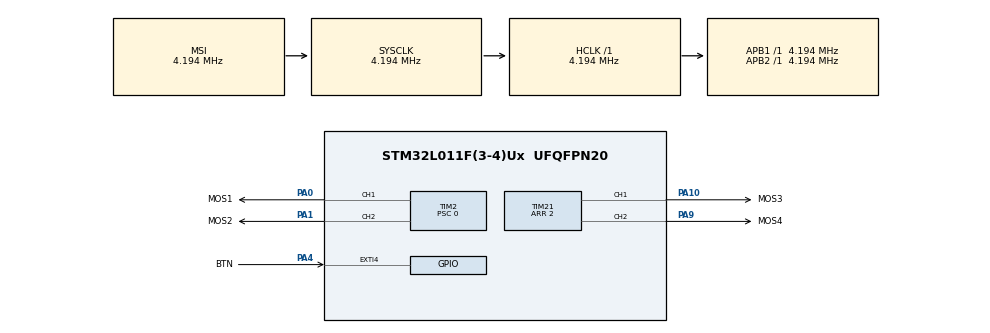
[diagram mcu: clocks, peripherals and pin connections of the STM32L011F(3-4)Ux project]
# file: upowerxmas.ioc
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Mcu.Family=STM32L0
Mcu.Name=STM32L011F(3-4)Ux
Mcu.Package=UFQFPN20
NVIC.EXTI4_15_IRQn=true\:0\:0\:false\:false\:true\:true\:true
NVIC.RTC_IRQn=true\:0\:0\:false\:false\:true\:true\:true
PA0-CK_IN.GPIO_Label=MOS1
PA0-CK_IN.GPIO_Speed=GPIO_SPEED_FREQ_VERY_HIGH
PA0-CK_IN.Signal=S_TIM2_CH1
PA1.GPIO_Label=MOS2
PA1.GPIO_Speed=GPIO_SPEED_FREQ_VERY_HIGH
PA1.Signal=S_TIM2_CH2
PA10.GPIO_Label=MOS3
PA10.GPIO_Speed=GPIO_SPEED_FREQ_VERY_HIGH
PA10.Signal=S_TIM21_CH1
PA4.GPIO_Label=BTN
PA4.GPIO_ModeDefaultEXTI=GPIO_MODE_IT_RISING
PA4.Signal=GPXTI4
PA9.GPIO_Label=MOS4
PA9.GPIO_Speed=GPIO_SPEED_FREQ_VERY_HIGH
PA9.Signal=S_TIM21_CH2
ProjectManager.HeapSize=0x200
ProjectManager.StackSize=0x400
ProjectManager.TargetToolchain=STM32CubeIDE
RCC.AHBFreq_Value=4194000
RCC.APB1Freq_Value=4194000
RCC.APB1TimFreq_Value=4194000
RCC.APB2Freq_Value=4194000
RCC.APB2TimFreq_Value=4194000
RCC.HCLKFreq_Value=4194000
RCC.HSE_VALUE=8000000
RCC.HSI16_VALUE=16000000
RCC.HSI_VALUE=16000000
RCC.LSE_VALUE=32768
RCC.MSIClockRange=RCC_MSIRANGE_6
RCC.MSI_VALUE=4194000
RCC.PREFETCH_ENABLE=0
RCC.PWR_Regulator_Voltage_Scale=PWR_REGULATOR_VOLTAGE_SCALE2
RCC.SYSCLKFreq_VALUE=4194000
RCC.VCOOutputFreq_Value=48000000
RCC.VDD_VALUE=2.5
RTC.WakeUpClock=RTC_WAKEUPCLOCK_RTCCLK_DIV2
RTC.WakeUpCounter=328
SH.S_TIM21_CH1.0=TIM21_CH1,PWM Generation1 CH1
SH.S_TIM21_CH2.0=TIM21_CH2,PWM Generation2 CH2
SH.S_TIM2_CH1.0=TIM2_CH1,PWM Generation1 CH1
SH.S_TIM2_CH2.0=TIM2_CH2,PWM Generation2 CH2
TIM2.AutoReloadPreload=TIM_AUTORELOAD_PRELOAD_DISABLE
TIM2.Channel-PWM\ Generation1\ CH1=TIM_CHANNEL_1
TIM2.Channel-PWM\ Generation2\ CH2=TIM_CHANNEL_2
TIM2.OC1Preload_PWM=ENABLE
TIM2.OCFastMode_PWM-PWM\ Generation1\ CH1=TIM_OCFAST_ENABLE
TIM2.OCFastMode_PWM-PWM\ Generation2\ CH2=TIM_OCFAST_ENABLE
TIM2.OCMode_PWM-PWM\ Generation1\ CH1=TIM_OCMODE_PWM2
TIM2.OCMode_PWM-PWM\ Generation2\ CH2=TIM_OCMODE_PWM2
TIM2.Period=2
TIM2.Prescaler=0
TIM2.Pulse-PWM\ Generation1\ CH1=1
TIM2.Pulse-PWM\ Generation2\ CH2=1
TIM21.Channel-PWM\ Generation1\ CH1=TIM_CHANNEL_1
TIM21.Channel-PWM\ Generation2\ CH2=TIM_CHANNEL_2
TIM21.OC1Preload_PWM=ENABLE
TIM21.OCFastMode_PWM-PWM\ Generation1\ CH1=TIM_OCFAST_ENABLE
TIM21.OCFastMode_PWM-PWM\ Generation2\ CH2=TIM_OCFAST_ENABLE
TIM21.OCMode_PWM-PWM\ Generation1\ CH1=TIM_OCMODE_PWM2
TIM21.OCMode_PWM-PWM\ Generation2\ CH2=TIM_OCMODE_PWM2
TIM21.Period=2
TIM21.Pulse-PWM\ Generation1\ CH1=1
TIM21.Pulse-PWM\ Generation2\ CH2=1
VP_RTC_VS_RTC_Activate.Mode=RTC_Enabled
VP_RTC_VS_RTC_WakeUp_intern.Mode=WakeUp
VP_TIM21_VS_OPM.Mode=OPM_bit
VP_TIM2_VS_OPM.Mode=OPM_bit
board=custom

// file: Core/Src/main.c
/* USER CODE BEGIN Header */
/**
  ******************************************************************************
  * @file           : main.c
  * @brief          : Main program body
  ******************************************************************************
  * @attention
  *
  * <h2><center>&copy; Copyright (c) 2019 STMicroelectronics.
  * All rights reserved.</center></h2>
  *
  * This software component is licensed by ST under BSD 3-Clause license,
  * the "License"; You may not use this file except in compliance with the
  * License. You may obtain a copy of the License at:
  *                        opensource.org/licenses/BSD-3-Clause
  *
  ******************************************************************************
  */
/* USER CODE END Header */

#include "main.h"

/* USER CODE BEGIN Includes */
#include <stdbool.h>
/* USER CODE END Includes */

RTC_HandleTypeDef hrtc;

TIM_HandleTypeDef htim2;
TIM_HandleTypeDef htim21;

/* USER CODE BEGIN PV */
int mode = -1;
bool switchMode = true;
long lastMostSwitch = 0;

// min. delay between 2 mode switches (in ms)
#define MODESWITCHDELAY 5
/* USER CODE END PV */

void SystemClock_Config(void);
static void MX_GPIO_Init(void);
static void MX_RTC_Init(void);
static void MX_TIM2_Init(void);
static void MX_TIM21_Init(void);
/* USER CODE BEGIN PFP */
void MX_GPIO_Deinit(void);
static void StopMode(void);
static void ModeBlink_Init(uint16_t brght, uint32_t wkup);
static void ModeBlink_Loop();
static void ModeFlake_Init(uint16_t brght, uint32_t wkup);
static void ModeFlake_Loop();
static void ModeStatic_Init(int arr, int wkup);
static void ModeStatic_Loop();
/* USER CODE END PFP */

/* USER CODE BEGIN 0 */

// simple 16bit PRNG
static uint16_t prng_lfsr16(void)
{
  static uint16_t cnt16 = 91;
  return (cnt16 = (cnt16 >> 1) ^ (-(cnt16 & 1) & 0xB400));
}

/* USER CODE END 0 */

int main(void)
{

  /* MCU Configuration--------------------------------------------------------*/

  /* Reset of all peripherals, Initializes the Flash interface and the Systick. */
  HAL_Init();

  /* USER CODE BEGIN Init */

  /* Before we can access to every register of the PWR peripheral we must enable it */
  __HAL_RCC_PWR_CLK_ENABLE();

  /* USER CODE END Init */

  /* Configure the system clock */
  SystemClock_Config();

  /* Initialize all configured peripherals */
  MX_GPIO_Init();
  MX_RTC_Init();
  MX_TIM2_Init();
  MX_TIM21_Init();
  /* USER CODE BEGIN 2 */

  // hack to enter programming mode easily as backup...
  // hold the button to enter the wait loop for 20s
  if(HAL_GPIO_ReadPin(BTN_GPIO_Port, BTN_Pin) == false)
  {
	  int i, j;

	  // blink the topmost LED 500ms on 500ms off
	  for(i = 40000; i > 0; i -= 1000)
	  {
		  for( j = 5000; j > 0; j--)
		  {
			  HAL_TIM_PWM_Start(&htim21, TIM_CHANNEL_1);
		  }

		  HAL_Delay(500);
	  }
  }

  // add half a second of wait time to allow for easier flashing of the device (before it
  // goes to STOP mode too quickly <:O
  HAL_Delay(500);

  // for some reason we have to start with tim21 to not bog down the power supply at
  // startup... so to be sure we do one short pulse here before going to main loop
  HAL_TIM_PWM_Start(&htim21, TIM_CHANNEL_1);
  HAL_Delay(20);

  /* USER CODE END 2 */

  /* Infinite loop */
  /* USER CODE BEGIN WHILE */
  while (1)
  {
	  // do some mode switching
	  if(switchMode)
	  {
		  switchMode = false;
		  mode++;

		  // loop the mode counter...
		  if(mode > 8)
			  mode = 0;

		  switch(mode)
		  {
		  case 0:
			  ModeStatic_Init(3, 328);
			  break;
		  case 1:
			  ModeStatic_Init(2, 328);
			  break;
		  case 2:
			  ModeStatic_Init(1, 328);
			  break;
		  case 3:
			  ModeBlink_Init(800, 6500);
			  break;
		  case 4:
			  ModeBlink_Init(400, 6500);
			  break;
		  case 5:
			  ModeBlink_Init(75, 6500);
			  break;
		  case 6:
			  ModeFlake_Init(800, 6500);
			  break;
		  case 7:
			  ModeFlake_Init(400, 6500);
			  break;
		  case 8:
			  ModeFlake_Init(75, 6500);
			  break;
		  default:
			  ModeStatic_Init(3, 328);
			  break;

		  }

	  }

	  // do the actual loop-work
	  switch(mode)
	  {
	  case 0:
		  ModeStatic_Loop();
		  ModeStatic_Loop();
		  break;
	  case 1:
	  case 2:
		  ModeStatic_Loop();
		  break;
	  case 3:
	  case 4:
	  case 5:
		  // call that twice to give some chance of having two lights on at the same time ;)
		  ModeBlink_Loop();
		  ModeBlink_Loop();
		  break;
	  case 6:
	  case 7:
	  case 8:
		  ModeFlake_Loop();
		  break;
	  default:
		  ModeStatic_Loop();
		  break;

	  }

	  // go to low power for a while until the RTC's AWU wakes us
	  StopMode();

    /* USER CODE END WHILE */

  }
}

void SystemClock_Config(void)
{
  RCC_OscInitTypeDef RCC_OscInitStruct = {0};
  RCC_ClkInitTypeDef RCC_ClkInitStruct = {0};
  RCC_PeriphCLKInitTypeDef PeriphClkInit = {0};

  /** Configure the main internal regulator output voltage
  */
  __HAL_PWR_VOLTAGESCALING_CONFIG(PWR_REGULATOR_VOLTAGE_SCALE2);
  /** Initializes the CPU, AHB and APB busses clocks
  */
  RCC_OscInitStruct.OscillatorType = RCC_OSCILLATORTYPE_LSI|RCC_OSCILLATORTYPE_MSI;
  RCC_OscInitStruct.LSIState = RCC_LSI_ON;
  RCC_OscInitStruct.MSIState = RCC_MSI_ON;
  RCC_OscInitStruct.MSICalibrationValue = 0;
  RCC_OscInitStruct.MSIClockRange = RCC_MSIRANGE_6;
  RCC_OscInitStruct.PLL.PLLState = RCC_PLL_NONE;
  if (HAL_RCC_OscConfig(&RCC_OscInitStruct) != HAL_OK)
  {
    Error_Handler();
  }
  /** Initializes the CPU, AHB and APB busses clocks
  */
  RCC_ClkInitStruct.ClockType = RCC_CLOCKTYPE_HCLK|RCC_CLOCKTYPE_SYSCLK
                              |RCC_CLOCKTYPE_PCLK1|RCC_CLOCKTYPE_PCLK2;
  RCC_ClkInitStruct.SYSCLKSource = RCC_SYSCLKSOURCE_MSI;
  RCC_ClkInitStruct.AHBCLKDivider = RCC_SYSCLK_DIV1;
  RCC_ClkInitStruct.APB1CLKDivider = RCC_HCLK_DIV1;
  RCC_ClkInitStruct.APB2CLKDivider = RCC_HCLK_DIV1;

  if (HAL_RCC_ClockConfig(&RCC_ClkInitStruct, FLASH_LATENCY_0) != HAL_OK)
  {
    Error_Handler();
  }
  PeriphClkInit.PeriphClockSelection = RCC_PERIPHCLK_RTC;
  PeriphClkInit.RTCClockSelection = RCC_RTCCLKSOURCE_LSI;
  if (HAL_RCCEx_PeriphCLKConfig(&PeriphClkInit) != HAL_OK)
  {
    Error_Handler();
  }
}

static void MX_RTC_Init(void)
{

  /** Initialize RTC Only
  */
  hrtc.Instance = RTC;
  hrtc.Init.HourFormat = RTC_HOURFORMAT_24;
  hrtc.Init.AsynchPrediv = 127;
  hrtc.Init.SynchPrediv = 255;
  hrtc.Init.OutPut = RTC_OUTPUT_DISABLE;
  hrtc.Init.OutPutRemap = RTC_OUTPUT_REMAP_NONE;
  hrtc.Init.OutPutPolarity = RTC_OUTPUT_POLARITY_HIGH;
  hrtc.Init.OutPutType = RTC_OUTPUT_TYPE_OPENDRAIN;
  if (HAL_RTC_Init(&hrtc) != HAL_OK)
  {
    Error_Handler();
  }
  /** Enable the WakeUp
  */
  if (HAL_RTCEx_SetWakeUpTimer_IT(&hrtc, 328, RTC_WAKEUPCLOCK_RTCCLK_DIV2) != HAL_OK)
  {
    Error_Handler();
  }

}

static void MX_TIM2_Init(void)
{

  TIM_MasterConfigTypeDef sMasterConfig = {0};
  TIM_OC_InitTypeDef sConfigOC = {0};

  htim2.Instance = TIM2;
  htim2.Init.Prescaler = 0;
  htim2.Init.CounterMode = TIM_COUNTERMODE_UP;
  htim2.Init.Period = 2;
  htim2.Init.ClockDivision = TIM_CLOCKDIVISION_DIV1;
  htim2.Init.AutoReloadPreload = TIM_AUTORELOAD_PRELOAD_DISABLE;
  if (HAL_TIM_PWM_Init(&htim2) != HAL_OK)
  {
    Error_Handler();
  }
  if (HAL_TIM_OnePulse_Init(&htim2, TIM_OPMODE_SINGLE) != HAL_OK)
  {
    Error_Handler();
  }
  sMasterConfig.MasterOutputTrigger = TIM_TRGO_RESET;
  sMasterConfig.MasterSlaveMode = TIM_MASTERSLAVEMODE_DISABLE;
  if (HAL_TIMEx_MasterConfigSynchronization(&htim2, &sMasterConfig) != HAL_OK)
  {
    Error_Handler();
  }
  sConfigOC.OCMode = TIM_OCMODE_PWM2;
  sConfigOC.Pulse = 1;
  sConfigOC.OCPolarity = TIM_OCPOLARITY_HIGH;
  sConfigOC.OCFastMode = TIM_OCFAST_ENABLE;
  if (HAL_TIM_PWM_ConfigChannel(&htim2, &sConfigOC, TIM_CHANNEL_1) != HAL_OK)
  {
    Error_Handler();
  }
  if (HAL_TIM_PWM_ConfigChannel(&htim2, &sConfigOC, TIM_CHANNEL_2) != HAL_OK)
  {
    Error_Handler();
  }
  HAL_TIM_MspPostInit(&htim2);

}

static void MX_TIM21_Init(void)
{

  TIM_MasterConfigTypeDef sMasterConfig = {0};
  TIM_OC_InitTypeDef sConfigOC = {0};

  htim21.Instance = TIM21;
  htim21.Init.Prescaler = 0;
  htim21.Init.CounterMode = TIM_COUNTERMODE_UP;
  htim21.Init.Period = 2;
  htim21.Init.ClockDivision = TIM_CLOCKDIVISION_DIV1;
  htim21.Init.AutoReloadPreload = TIM_AUTORELOAD_PRELOAD_DISABLE;
  if (HAL_TIM_PWM_Init(&htim21) != HAL_OK)
  {
    Error_Handler();
  }
  if (HAL_TIM_OnePulse_Init(&htim21, TIM_OPMODE_SINGLE) != HAL_OK)
  {
    Error_Handler();
  }
  sMasterConfig.MasterOutputTrigger = TIM_TRGO_RESET;
  sMasterConfig.MasterSlaveMode = TIM_MASTERSLAVEMODE_DISABLE;
  if (HAL_TIMEx_MasterConfigSynchronization(&htim21, &sMasterConfig) != HAL_OK)
  {
    Error_Handler();
  }
  sConfigOC.OCMode = TIM_OCMODE_PWM2;
  sConfigOC.Pulse = 1;
  sConfigOC.OCPolarity = TIM_OCPOLARITY_HIGH;
  sConfigOC.OCFastMode = TIM_OCFAST_ENABLE;
  if (HAL_TIM_PWM_ConfigChannel(&htim21, &sConfigOC, TIM_CHANNEL_1) != HAL_OK)
  {
    Error_Handler();
  }
  if (HAL_TIM_PWM_ConfigChannel(&htim21, &sConfigOC, TIM_CHANNEL_2) != HAL_OK)
  {
    Error_Handler();
  }
  HAL_TIM_MspPostInit(&htim21);

}

static void MX_GPIO_Init(void)
{
  GPIO_InitTypeDef GPIO_InitStruct = {0};

  /* GPIO Ports Clock Enable */
  __HAL_RCC_GPIOA_CLK_ENABLE();

  /*Configure GPIO pin : BTN_Pin */
  GPIO_InitStruct.Pin = BTN_Pin;
  GPIO_InitStruct.Mode = GPIO_MODE_IT_RISING;
  GPIO_InitStruct.Pull = GPIO_NOPULL;
  HAL_GPIO_Init(BTN_GPIO_Port, &GPIO_InitStruct);

  /* EXTI interrupt init*/
  HAL_NVIC_SetPriority(EXTI4_15_IRQn, 0, 0);
  HAL_NVIC_EnableIRQ(EXTI4_15_IRQn);

}

/* USER CODE BEGIN 4 */

void StopMode(void)
{
  //MX_GPIO_Deinit();

  /* Configure User push-button as external interrupt generator */
  //MX_GPIO_Init();

  /* Suspend Tick increment to prevent wakeup by Systick interrupt.
     Otherwise the Systick interrupt will wake up the device within 1ms (HAL time base) */
  HAL_SuspendTick();

  /* disable the flash in power down mode */
  __HAL_FLASH_POWER_DOWN_DISABLE();

  /* We enable again the PWR peripheral */
  __HAL_RCC_PWR_CLK_ENABLE();
  /* Request to enter SLEEP mode */
  HAL_PWR_EnterSTOPMode(PWR_LOWPOWERREGULATOR_ON, PWR_SLEEPENTRY_WFI);

  /* Resume Tick interrupt if disabled prior to sleep mode entry*/
  HAL_ResumeTick();

  /* Reinitialize GPIOs */
  //MX_GPIO_Init();

  /* Reinitialize UART2 */
  //MX_USART2_UART_Init();
}

void MX_GPIO_Deinit(void)
{
  GPIO_InitTypeDef GPIO_InitStruct;

  /* Configure all GPIO as analog to reduce current consumption on non used IOs */
  /* Enable GPIOs clock */
  /* Warning : Reconfiguring all GPIO will close the connection with the debugger */
  __HAL_RCC_GPIOA_CLK_ENABLE();
  __HAL_RCC_GPIOB_CLK_ENABLE();
  __HAL_RCC_GPIOC_CLK_ENABLE();

  GPIO_InitStruct.Mode = GPIO_MODE_ANALOG;
  GPIO_InitStruct.Speed = GPIO_SPEED_FREQ_HIGH;
  GPIO_InitStruct.Pull = GPIO_NOPULL;
  GPIO_InitStruct.Pin = GPIO_PIN_All;
  HAL_GPIO_Init(GPIOA, &GPIO_InitStruct);
  HAL_GPIO_Init(GPIOB, &GPIO_InitStruct);
  HAL_GPIO_Init(GPIOC, &GPIO_InitStruct);

  /* Disable GPIOs clock */
  __HAL_RCC_GPIOA_CLK_DISABLE();
  __HAL_RCC_GPIOB_CLK_DISABLE();
  __HAL_RCC_GPIOC_CLK_DISABLE();
}

void BTN_Pressed(void)
{
	uint32_t now = HAL_GetTick();

	// dumb debouncing
	if(lastMostSwitch + MODESWITCHDELAY < now)
	{
		lastMostSwitch = now;
		switchMode = true;
	}
}

/*
void ModeBlink_Init(int speed);
void ModeBlink_Loop();
void ModeFlake_Init(int speed);
void ModeFlake_Loop();
*/

void ModeStatic_Init(int arr, int wkup)
{
	// make sure the GPIOs are in the expected state
	HAL_TIM_MspPostInit(&htim2);
	HAL_TIM_MspPostInit(&htim21);

	// wake the MCU every ~18ms or so
	HAL_RTCEx_SetWakeUpTimer_IT(&hrtc, wkup, RTC_WAKEUPCLOCK_RTCCLK_DIV2);

	// limit the max intensity... this is SYSCLK dependent and
	// might short the supply to ground if the inductors on board
	// get saturated.
	if(arr > 6) arr = 6;

	__HAL_TIM_SET_AUTORELOAD(&htim2, arr);
	__HAL_TIM_SET_AUTORELOAD(&htim21, arr);

	  // Reset the OPM Bit to Single shot
	  htim2.Instance->CR1 &= ~TIM_CR1_OPM;
	  htim2.Instance->CR1 |= TIM_OPMODE_SINGLE;
	  // Reset the OPM Bit to Single shot
	  htim21.Instance->CR1 &= ~TIM_CR1_OPM;
	  htim21.Instance->CR1 |= TIM_OPMODE_SINGLE;
}

void ModeStatic_Loop()
{
	HAL_TIM_PWM_Start(&htim2, TIM_CHANNEL_1);
	HAL_TIM_PWM_Start(&htim2, TIM_CHANNEL_2);
	HAL_TIM_PWM_Start(&htim21, TIM_CHANNEL_2);
	HAL_TIM_PWM_Start(&htim21, TIM_CHANNEL_1);
}

uint16_t blink_brighness = 0;
uint16_t blink_step = 0;

void ModeBlink_Init(uint16_t brght, uint32_t wkup)
{
	HAL_RTCEx_SetWakeUpTimer_IT(&hrtc, wkup, RTC_WAKEUPCLOCK_RTCCLK_DIV2);
	blink_brighness = brght;
}

static void ModeBlink_Loop()
{
	GPIO_InitTypeDef GPIO_InitStruct = {0};

	TIM_HandleTypeDef *timer;
	uint8_t channel;

	blink_step = prng_lfsr16();

	if(blink_step < (0xffff / 4))
	{
		timer = &htim2;
		channel = TIM_CHANNEL_1;

		// MOS 1 driven
	    GPIO_InitStruct.Pin = MOS1_Pin;
	    GPIO_InitStruct.Mode = GPIO_MODE_AF_PP;
	    GPIO_InitStruct.Pull = GPIO_NOPULL;
	    GPIO_InitStruct.Speed = GPIO_SPEED_FREQ_VERY_HIGH;
	    GPIO_InitStruct.Alternate = GPIO_AF2_TIM2;
	    HAL_GPIO_Init(MOS1_GPIO_Port, &GPIO_InitStruct);

	    // MOS 2 input
		GPIO_InitStruct.Pin = MOS2_Pin;
		GPIO_InitStruct.Mode = GPIO_MODE_INPUT;
		HAL_GPIO_Init(MOS1_GPIO_Port, &GPIO_InitStruct);
	}
	else if(blink_step < 0xffff / 4 * 2)
	{
		timer = &htim2;
		channel = TIM_CHANNEL_2;

		// MOS 1 driven
		GPIO_InitStruct.Pin = MOS2_Pin;
		GPIO_InitStruct.Mode = GPIO_MODE_AF_PP;
		GPIO_InitStruct.Pull = GPIO_NOPULL;
		GPIO_InitStruct.Speed = GPIO_SPEED_FREQ_VERY_HIGH;
		GPIO_InitStruct.Alternate = GPIO_AF2_TIM2;
		HAL_GPIO_Init(MOS1_GPIO_Port, &GPIO_InitStruct);

		// MOS 2 input
		GPIO_InitStruct.Pin = MOS1_Pin;
		GPIO_InitStruct.Mode = GPIO_MODE_INPUT;
		HAL_GPIO_Init(MOS1_GPIO_Port, &GPIO_InitStruct);
	}
	else if(blink_step < 0xffff / 4 * 3)
	{
		timer = &htim21;
		channel = TIM_CHANNEL_1;

		// MOS 4 driven
	    GPIO_InitStruct.Pin = MOS4_Pin;
	    GPIO_InitStruct.Mode = GPIO_MODE_AF_PP;
	    GPIO_InitStruct.Pull = GPIO_NOPULL;
	    GPIO_InitStruct.Speed = GPIO_SPEED_FREQ_VERY_HIGH;
	    GPIO_InitStruct.Alternate = GPIO_AF5_TIM21;
	    HAL_GPIO_Init(MOS4_GPIO_Port, &GPIO_InitStruct);

	    // MOS 3 input
	    GPIO_InitStruct.Pin = MOS3_Pin;
	    GPIO_InitStruct.Mode = GPIO_MODE_INPUT;
	    GPIO_InitStruct.Pull = GPIO_NOPULL;
	    GPIO_InitStruct.Speed = GPIO_SPEED_FREQ_VERY_HIGH;
	    GPIO_InitStruct.Alternate = GPIO_AF0_TIM21;
	    HAL_GPIO_Init(MOS3_GPIO_Port, &GPIO_InitStruct);
	}
	else
	{
		timer = &htim21;
		channel = TIM_CHANNEL_2;

		// MOS 4 input
	    GPIO_InitStruct.Pin = MOS4_Pin;
	    GPIO_InitStruct.Mode = GPIO_MODE_INPUT;
	    GPIO_InitStruct.Pull = GPIO_NOPULL;
	    GPIO_InitStruct.Speed = GPIO_SPEED_FREQ_VERY_HIGH;
	    GPIO_InitStruct.Alternate = GPIO_AF5_TIM21;
	    HAL_GPIO_Init(MOS4_GPIO_Port, &GPIO_InitStruct);

	    // MOS 3 driven
	    GPIO_InitStruct.Pin = MOS3_Pin;
	    GPIO_InitStruct.Mode = GPIO_MODE_AF_PP;
	    GPIO_InitStruct.Pull = GPIO_NOPULL;
	    GPIO_InitStruct.Speed = GPIO_SPEED_FREQ_VERY_HIGH;
	    GPIO_InitStruct.Alternate = GPIO_AF0_TIM21;
	    HAL_GPIO_Init(MOS3_GPIO_Port, &GPIO_InitStruct);
	}

	for(int i = 0; i < blink_brighness; i++)
	{
		HAL_TIM_PWM_Start(timer, channel);
	}
}

void ModeFlake_Init(uint16_t brght, uint32_t wkup)
{
	HAL_RTCEx_SetWakeUpTimer_IT(&hrtc, wkup, RTC_WAKEUPCLOCK_RTCCLK_DIV2);
	blink_brighness = brght;
}

static void ModeFlake_Loop()
{
	GPIO_InitTypeDef GPIO_InitStruct = {0};

	TIM_HandleTypeDef *timer;
	uint8_t channel;

	blink_step++;

	if(blink_step > 3)
		blink_step = 0;

	if(blink_step == 0)
	{
		timer = &htim2;
		channel = TIM_CHANNEL_1;

		// MOS 1 driven
	    GPIO_InitStruct.Pin = MOS1_Pin;
	    GPIO_InitStruct.Mode = GPIO_MODE_AF_PP;
	    GPIO_InitStruct.Pull = GPIO_NOPULL;
	    GPIO_InitStruct.Speed = GPIO_SPEED_FREQ_VERY_HIGH;
	    GPIO_InitStruct.Alternate = GPIO_AF2_TIM2;
	    HAL_GPIO_Init(MOS1_GPIO_Port, &GPIO_InitStruct);

	    // MOS 2 input
		GPIO_InitStruct.Pin = MOS2_Pin;
		GPIO_InitStruct.Mode = GPIO_MODE_INPUT;
		HAL_GPIO_Init(MOS1_GPIO_Port, &GPIO_InitStruct);
	}
	else if(blink_step == 1)
	{
		timer = &htim2;
		channel = TIM_CHANNEL_2;

		// MOS 1 driven
		GPIO_InitStruct.Pin = MOS2_Pin;
		GPIO_InitStruct.Mode = GPIO_MODE_AF_PP;
		GPIO_InitStruct.Pull = GPIO_NOPULL;
		GPIO_InitStruct.Speed = GPIO_SPEED_FREQ_VERY_HIGH;
		GPIO_InitStruct.Alternate = GPIO_AF2_TIM2;
		HAL_GPIO_Init(MOS1_GPIO_Port, &GPIO_InitStruct);

		// MOS 2 input
		GPIO_InitStruct.Pin = MOS1_Pin;
		GPIO_InitStruct.Mode = GPIO_MODE_INPUT;
		HAL_GPIO_Init(MOS1_GPIO_Port, &GPIO_InitStruct);
	}
	else if(blink_step == 2)
	{
		timer = &htim21;
		channel = TIM_CHANNEL_1;

		// MOS 4 driven
	    GPIO_InitStruct.Pin = MOS4_Pin;
	    GPIO_InitStruct.Mode = GPIO_MODE_AF_PP;
	    GPIO_InitStruct.Pull = GPIO_NOPULL;
	    GPIO_InitStruct.Speed = GPIO_SPEED_FREQ_VERY_HIGH;
	    GPIO_InitStruct.Alternate = GPIO_AF5_TIM21;
	    HAL_GPIO_Init(MOS4_GPIO_Port, &GPIO_InitStruct);

	    // MOS 3 input
	    GPIO_InitStruct.Pin = MOS3_Pin;
	    GPIO_InitStruct.Mode = GPIO_MODE_INPUT;
	    GPIO_InitStruct.Pull = GPIO_NOPULL;
	    GPIO_InitStruct.Speed = GPIO_SPEED_FREQ_VERY_HIGH;
	    GPIO_InitStruct.Alternate = GPIO_AF0_TIM21;
	    HAL_GPIO_Init(MOS3_GPIO_Port, &GPIO_InitStruct);
	}
	else
	{
		timer = &htim21;
		channel = TIM_CHANNEL_2;

		// MOS 4 input
	    GPIO_InitStruct.Pin = MOS4_Pin;
	    GPIO_InitStruct.Mode = GPIO_MODE_INPUT;
	    GPIO_InitStruct.Pull = GPIO_NOPULL;
	    GPIO_InitStruct.Speed = GPIO_SPEED_FREQ_VERY_HIGH;
	    GPIO_InitStruct.Alternate = GPIO_AF5_TIM21;
	    HAL_GPIO_Init(MOS4_GPIO_Port, &GPIO_InitStruct);

	    // MOS 3 driven
	    GPIO_InitStruct.Pin = MOS3_Pin;
	    GPIO_InitStruct.Mode = GPIO_MODE_AF_PP;
	    GPIO_InitStruct.Pull = GPIO_NOPULL;
	    GPIO_InitStruct.Speed = GPIO_SPEED_FREQ_VERY_HIGH;
	    GPIO_InitStruct.Alternate = GPIO_AF0_TIM21;
	    HAL_GPIO_Init(MOS3_GPIO_Port, &GPIO_InitStruct);
	}

	for(int i = 0; i < blink_brighness; i++)
	{
		HAL_TIM_PWM_Start(timer, channel);
	}
}

/* USER CODE END 4 */

void Error_Handler(void)
{
}

/************************ (C) COPYRIGHT STMicroelectronics *****END OF FILE****/
